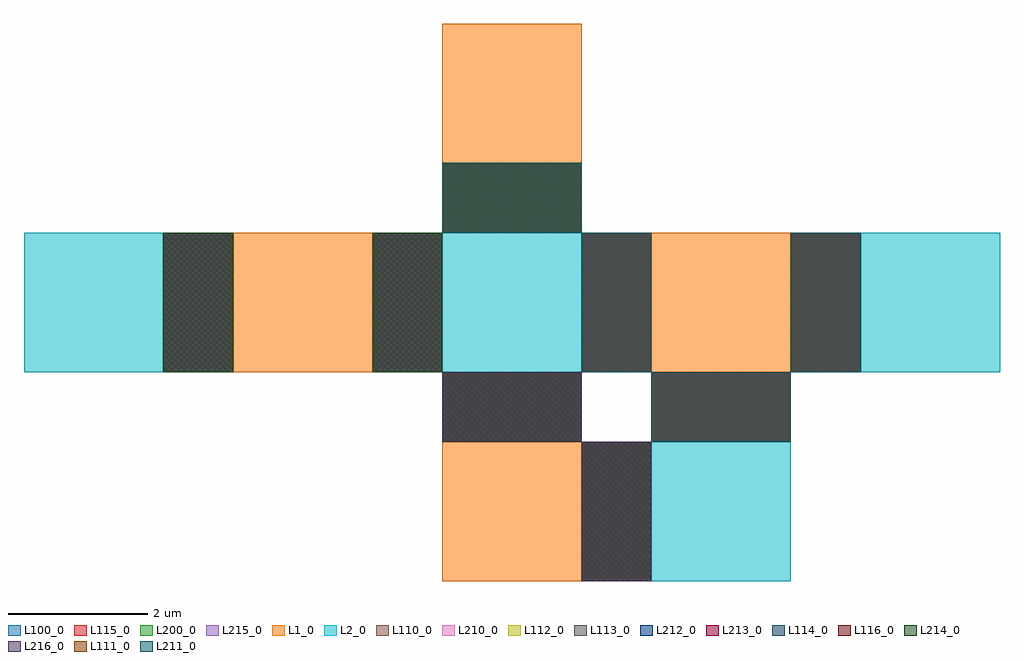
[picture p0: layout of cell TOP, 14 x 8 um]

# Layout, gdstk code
import gdstk
lib = gdstk.Library(unit=1e-6, precision=1e-09)
def R(c, l, rs):  # rectangles x0, y0, x1, y1
    for r in rs: c.add(gdstk.rectangle(r[:2], r[2:], *l))
def A(c, l, x, y, w, h, nx, ny, dx, dy):  # array of equal rectangles
    R(c, l, [(x+i*dx, y+j*dy, x+i*dx+w, y+j*dy+h) for i in range(nx) for j in range(ny)])
L1_0 = (1, 0)
L2_0 = (2, 0)
L100_0 = (100, 0)
L110_0 = (110, 0)
L111_0 = (111, 0)
L112_0 = (112, 0)
L113_0 = (113, 0)
L114_0 = (114, 0)
L115_0 = (115, 0)
L116_0 = (116, 0)
L200_0 = (200, 0)
L210_0 = (210, 0)
L211_0 = (211, 0)
L212_0 = (212, 0)
L213_0 = (213, 0)
L214_0 = (214, 0)
L215_0 = (215, 0)
L216_0 = (216, 0)

top = lib.new_cell('TOP')
R(top, L1_0, [(6,-3,8,-1), (3,0,5,2), (9,0,11,2), (6,3,8,5)])
A(top, L2_0, 0, 0, 2, 2, 3, 1, 6, 0)
R(top, L2_0, [(9,-3,11,-1)])
A(top, L100_0, 1.999, -0.001, 1.002, 2.002, 4, 1, 3, 0)
R(top, L100_0, [(7.999,-3.001,9.001,-0.999), (5.999,-1.001,8.001,0.001), (8.999,-1.001,11.001,0.001), (5.999,1.999,8.001,3.001)])
A(top, L110_0, 1.999, -0.001, 1.002, 2.002, 4, 1, 3, 0)
R(top, L110_0, [(7.999,-3.001,9.001,-0.999), (5.999,-1.001,8.001,0.001), (8.999,-1.001,11.001,0.001)])
R(top, L111_0, [(8.999,-1.001,11.001,0.001), (7.999,-0.001,9.001,2.001), (10.999,-0.001,12.001,2.001), (5.999,1.999,8.001,3.001)])
R(top, L112_0, [(7.999,-3.001,9.001,-0.999), (5.999,-1.001,8.001,0.001), (8.999,-1.001,11.001,0.001), (7.999,-0.001,9.001,2.001), (10.999,-0.001,12.001,2.001), (5.999,1.999,8.001,3.001)])
A(top, L113_0, 1.999, -0.001, 1.002, 2.002, 4, 1, 3, 0)
R(top, L113_0, [(8.999,-1.001,11.001,0.001), (5.999,1.999,8.001,3.001)])
R(top, L114_0, [(7.999,-3.001,9.001,-0.999), (5.999,-1.001,8.001,0.001), (1.999,-0.001,3.001,2.001), (4.999,-0.001,6.001,2.001), (5.999,1.999,8.001,3.001)])
A(top, L115_0, 1.999, -0.001, 1.002, 2.002, 4, 1, 3, 0)
R(top, L115_0, [(7.999,-3.001,9.001,-0.999), (5.999,-1.001,8.001,0.001), (8.999,-1.001,11.001,0.001), (5.999,1.999,8.001,3.001)])
R(top, L116_0, [(7.999,-3.001,9.001,-0.999), (5.999,-1.001,8.001,0.001), (8.999,-1.001,11.001,0.001), (7.999,-0.001,9.001,2.001), (10.999,-0.001,12.001,2.001)])
A(top, L200_0, 1.999, -0.001, 1.002, 2.002, 4, 1, 3, 0)
R(top, L200_0, [(7.999,-3.001,9.001,-0.999), (5.999,-1.001,8.001,0.001), (8.999,-1.001,11.001,0.001), (5.999,1.999,8.001,3.001)])
A(top, L210_0, 1.999, -0.001, 1.002, 2.002, 4, 1, 3, 0)
R(top, L210_0, [(7.999,-3.001,9.001,-0.999), (5.999,-1.001,8.001,0.001), (8.999,-1.001,11.001,0.001)])
R(top, L211_0, [(8.999,-1.001,11.001,0.001), (7.999,-0.001,9.001,2.001), (10.999,-0.001,12.001,2.001), (5.999,1.999,8.001,3.001)])
R(top, L212_0, [(7.999,-3.001,9.001,-0.999), (5.999,-1.001,8.001,0.001), (8.999,-1.001,11.001,0.001), (7.999,-0.001,9.001,2.001), (10.999,-0.001,12.001,2.001), (5.999,1.999,8.001,3.001)])
A(top, L213_0, 1.999, -0.001, 1.002, 2.002, 4, 1, 3, 0)
R(top, L213_0, [(8.999,-1.001,11.001,0.001), (5.999,1.999,8.001,3.001)])
R(top, L214_0, [(7.999,-3.001,9.001,-0.999), (5.999,-1.001,8.001,0.001), (1.999,-0.001,3.001,2.001), (4.999,-0.001,6.001,2.001), (5.999,1.999,8.001,3.001)])
A(top, L215_0, 1.999, -0.001, 1.002, 2.002, 4, 1, 3, 0)
R(top, L215_0, [(7.999,-3.001,9.001,-0.999), (5.999,-1.001,8.001,0.001), (8.999,-1.001,11.001,0.001), (5.999,1.999,8.001,3.001)])
R(top, L216_0, [(7.999,-3.001,9.001,-0.999), (5.999,-1.001,8.001,0.001), (8.999,-1.001,11.001,0.001), (7.999,-0.001,9.001,2.001), (10.999,-0.001,12.001,2.001)])

lib.write_gds('TOP.gds')
